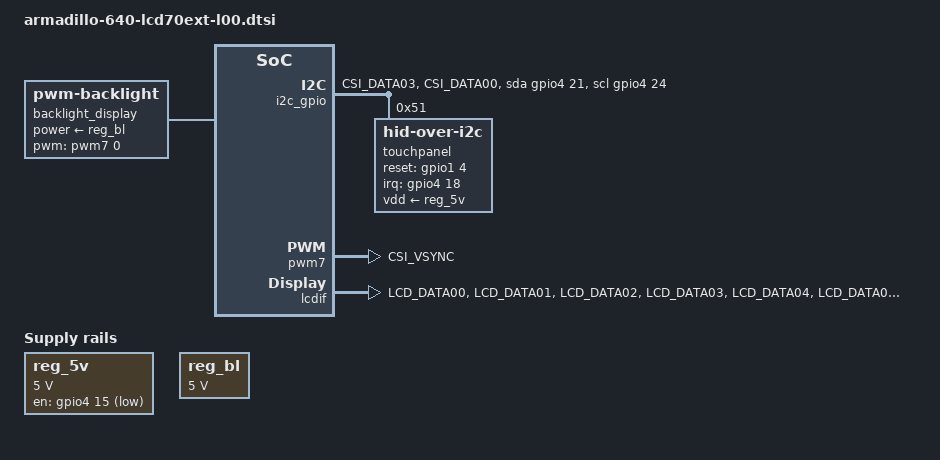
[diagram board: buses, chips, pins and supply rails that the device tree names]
/*
 * Copyright (C) 2018 Atmark Techno, Inc. All Rights Reserved.
 *
 * SPDX-License-Identifier: (GPL-2.0 OR MIT)
 */

#define ARMADILLO640_LCD70EXT_L00

/ {
	backlight_display: backlight-display {
		compatible = "pwm-backlight";
		pwms = <&pwm7 0 5000000>;
		brightness-levels = <0 128 129 130 131 132 133 134 135 136 137 138 139 140 141 142 143 144 145 146 147 148 149 150 151 152 153 154 155 156 157 158 159 160 161 162 163 164 165 166 167 168 169 170 171 172 173 174 175 176 177 178 179 180 181 182 183 184 185 186 187 188 189 190 191 192 193 194 195 196 197 198 199 200 201 202 203 204 205 206 207 208 209 210 211 212 213 214 215 216 217 218 219 220 221 222 223 224 225 226 227 228 229 230 231 232 233 234 235 236 237 238 239 240 241 242 243 244 245 246 247 248 249 250 251 252 253 254 255>;
		default-brightness-level = <128>;
		power-supply = <&reg_bl>;
		status = "okay";
	};

	regulators: regulators0 {
		compatible = "simple-bus";
		#address-cells = <1>;
		#size-cells = <0>;

		reg_5v: regulator@0 {
			compatible = "regulator-fixed";
			reg = <0>;
			regulator-name = "5V";
			regulator-min-microvolt = <5000000>;
			regulator-max-microvolt = <5000000>;
			gpio = <&gpio4 15 GPIO_ACTIVE_HIGH>;
		};

		reg_bl: regulator@1 {
			compatible = "regulator-fixed";
			reg = <1>;
			regulator-name = "5V";
			regulator-min-microvolt = <5000000>;
			regulator-max-microvolt = <5000000>;
			regulator-boot-on;
			regulator-always-on;
		};
	};

	i2c_gpio: i2c-gpio {
		compatible = "i2c-gpio";
		#address-cells = <1>;
		#size-cells = <0>;
		pinctrl-names = "default";
		pinctrl-0 = <&pinctrl_i2c_gpio>;
		gpios = <
			&gpio4 21 GPIO_ACTIVE_HIGH /* SDA */
			&gpio4 24 GPIO_ACTIVE_HIGH /* SCL */
		>;
		i2c-gpio,delay-us = <2>;

		status = "okay";

		touchpanel@51 {
			compatible = "hid-over-i2c";
			interrupt-parent = <&gpio4>;
			interrupts = <18 IRQ_TYPE_NONE>;
			reg = <0x51>;
			hid-descr-addr = <0x0001>;
			vdd-supply = <&reg_5v>;
			reset-gpio = <&gpio1 4 GPIO_ACTIVE_HIGH>;
		};
	};
};

&pwm7 {
	pinctrl-names = "default";
	pinctrl-0 = <&pinctrl_pwm7>;
	status = "okay";
};

&lcdif {
	pinctrl-names = "default";
	pinctrl-0 = <&pinctrl_lcdif_dat
		     &pinctrl_lcdif_ctrl>;
	display = <&display0>;
	status = "okay";

	display0: display-0 {
		bits-per-pixel = <32>;
		bus-width = <18>;

		display-timings {
			timing0: timing {
				/* GT800X480A-1013P */
				clock-frequency = <29232000>;
				hactive = <800>;
				vactive = <480>;
				hback-porch = <40>; /* 88(Blanking) - 48(pulse width) */
				hfront-porch = <40>;
				vback-porch = <29>; /* 32(Blanking) - 3(pulse width) */
				vfront-porch = <13>;
				hsync-len = <48>;
				vsync-len = <3>;
				de-active = <1>;
				pixelclk-active = <0>;
				hsync-active = <0>;
				vsync-active = <0>;
			};
		};
	};
};

&iomuxc {
	pinctrl_lcd70ext_l00hog: lcd70ext_l00hoggrp {
		fsl,pins = <
			MX6UL_PAD_GPIO1_IO04__GPIO1_IO04      0x1b0b0
			MX6UL_PAD_CSI_PIXCLK__GPIO4_IO18      0x1b0b0
			MX6UL_PAD_GPIO1_IO03__GPIO1_IO03      0x130b0 /* 18BIT_ENABLE */
		>;
	};

	pinctrl_pwm7: pwm7grp {
		fsl,pins = <
			MX6UL_PAD_CSI_VSYNC__PWM7_OUT   0x110b0
		>;
	};

	pinctrl_lcdif_dat: lcdifdatgrp {
		fsl,pins = <
			MX6UL_PAD_LCD_DATA00__LCDIF_DATA00  0x08
			MX6UL_PAD_LCD_DATA01__LCDIF_DATA01  0x08
			MX6UL_PAD_LCD_DATA02__LCDIF_DATA02  0x08
			MX6UL_PAD_LCD_DATA03__LCDIF_DATA03  0x08
			MX6UL_PAD_LCD_DATA04__LCDIF_DATA04  0x08
			MX6UL_PAD_LCD_DATA05__LCDIF_DATA05  0x08
			MX6UL_PAD_LCD_DATA06__LCDIF_DATA06  0x08
			MX6UL_PAD_LCD_DATA07__LCDIF_DATA07  0x08
			MX6UL_PAD_LCD_DATA08__LCDIF_DATA08  0x08
			MX6UL_PAD_LCD_DATA09__LCDIF_DATA09  0x08
			MX6UL_PAD_LCD_DATA10__LCDIF_DATA10  0x08
			MX6UL_PAD_LCD_DATA11__LCDIF_DATA11  0x08
			MX6UL_PAD_LCD_DATA12__LCDIF_DATA12  0x08
			MX6UL_PAD_LCD_DATA13__LCDIF_DATA13  0x08
			MX6UL_PAD_LCD_DATA14__LCDIF_DATA14  0x08
			MX6UL_PAD_LCD_DATA15__LCDIF_DATA15  0x08
			MX6UL_PAD_LCD_DATA16__LCDIF_DATA16  0x08
			MX6UL_PAD_LCD_DATA17__LCDIF_DATA17  0x08
		>;
	};

	pinctrl_lcdif_ctrl: lcdifctrlgrp {
		fsl,pins = <
			MX6UL_PAD_LCD_CLK__LCDIF_CLK	    0x08
			MX6UL_PAD_LCD_ENABLE__LCDIF_ENABLE  0x08
			MX6UL_PAD_LCD_HSYNC__LCDIF_HSYNC    0x08
			MX6UL_PAD_LCD_VSYNC__LCDIF_VSYNC    0x08
		>;
	};

	pinctrl_i2c_gpio: i2c-gpiogrp {
		fsl,pins = <
			MX6UL_PAD_CSI_DATA03__GPIO4_IO24  0x4001b8b1 /* SCL */
			MX6UL_PAD_CSI_DATA00__GPIO4_IO21  0x4001b8b1 /* SDA */
		>;
	};
};
